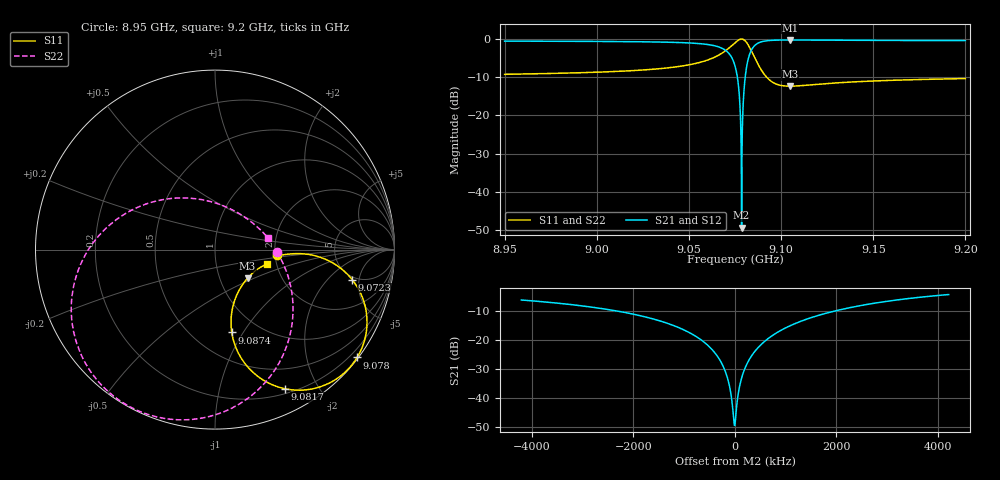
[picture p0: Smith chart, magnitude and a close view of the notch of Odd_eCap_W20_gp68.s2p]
! Sonnet Data File
! From: emgraph Version : 16.52
! From Emgraph Data: Resonator2_extremeCap
! Data File Written: 10/12/2017 12:53:34
!< HDATE 10/11/2017 21:06:01
!< MDATE 10/11/2017 21:06:01
!< PARAMS
!< Pwid1 = 2000.0
!< Air_gap = 12.0
!< Width = 20.0
!< Gap = 68.0
!< END PARAMS
# GHZ S MA R 40.13000
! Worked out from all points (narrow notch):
!   1844 points, 8.95 GHz to 9.2 GHz, reference 40.13 ohm
!   highest |S21| = -0.26 dB at 9.1048 GHz (marker M1); lowest = -49.4 dB at 9.0786 GHz (marker M2)
!   notch at M2: 48.7 dB deep, 706 kHz wide at half that depth
!   lowest |S11| = -12.3 dB at 9.1048 GHz (marker M3), VSWR 1.64, Z = 54.3 - j18.4 ohm
!   |S11| at or under -10 dB: 9.0922 GHz to end of sweep
!   |S22| runs from -12.4 to 0.0 dB; largest |S21 - S12| = 0
!   S11 on the Smith chart (normalised r, x): 8.95 GHz: 2.04, -0.15; 9.0723 GHz: 4.64, -4.01; 9.078 GHz: 0.03, -2.97; 9.0817 GHz: 0.25, -1.59; 9.0874 GHz: 0.75, -0.89; 9.2 GHz: 1.79, -0.32
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8.95  0.3451 -5.4  0.9386 -93.9  0.9386 -93.9  0.345 -2.4
!< P1 F=8.95 Eeff=(5.24886392 -2.3057e-5) Z0=(40.1292442 8.94105e-5) R=0.0 C=0.0
!< P2 F=8.95 Eeff=(5.24886392 -2.3057e-5) Z0=(40.1292442 8.94105e-5) R=0.0 C=0.0
8.9918  0.3625 -5.0  0.932 -95.6  0.932 -95.6  0.3625 -6.3
9.0334  0.4074 -3.6  0.9132 -99.5  0.9132 -99.5  0.4074 -15.4
9.059586  0.5251 -3.0  0.8508 -108.6  0.8508 -108.6  0.5249 -34.2
9.0723  0.7826 -12.4  0.6209 -130.0  0.6209 -130.0  0.7818 -68.0
9.075  0.8936 -20.6  0.4453 -142.4  0.4453 -142.4  0.8924 -84.7
9.076975  0.9702 -30.4  0.233 -155.4  0.233 -155.4  0.9688 -101.8
9.078044  0.9941 -37.2  0.08257 -162.9  0.08257 -162.9  0.9925 -113.0
9.078362  0.9969 -39.4  0.03387 -162.5  0.03387 -162.5  0.9952 -116.6
9.07858  0.9974 -40.9  0.003404 -67.9  0.003404 -67.9  0.9957 -119.1
9.078732  0.997 -42.0  0.02526 0.9  0.02526 0.9  0.9954 -120.9
9.078857  0.9963 -42.9  0.04521 3.0  0.04521 3.0  0.9946 -122.4
9.0794  0.9882 -46.9  0.1339 0.6  0.1339 0.6  0.9865 -129.0
9.08042  0.9512 -54.4  0.2995 -8.7  0.2995 -8.7  0.9494 -141.6
9.081741  0.8676 -63.3  0.4922 -20.9  0.4922 -20.9  0.8658 -157.7
9.084212  0.6721 -74.7  0.7381 -39.8  0.7381 -39.8  0.6705 175.6
9.0874  0.4711 -78.6  0.8809 -55.4  0.8809 -55.4  0.4698 148.0
9.094  0.2876 -65.9  0.9573 -70.8  0.9573 -70.8  0.2868 104.4
9.1048  0.2414 -41.3  0.9703 -80.2  0.9703 -80.2  0.2411 60.9
9.117  0.2523 -28.6  0.9676 -84.6  0.9676 -84.6  0.2521 39.4
9.1584  0.2872 -17.8  0.9578 -89.7  0.9578 -89.7  0.2872 18.3
9.2  0.3036 -15.7  0.9528 -91.7  0.9528 -91.7  0.3036 12.2
